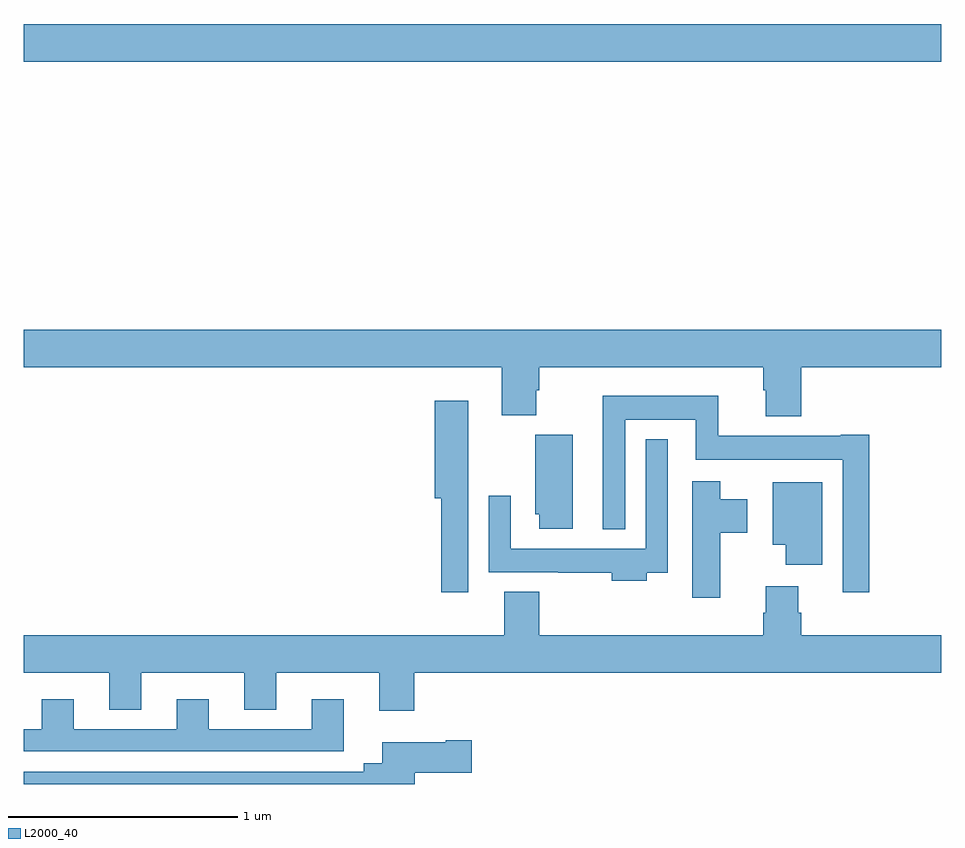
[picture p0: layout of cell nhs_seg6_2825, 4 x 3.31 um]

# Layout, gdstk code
import gdstk
lib = gdstk.Library(unit=1e-6, precision=1e-09)
def R(c, l, rs):  # rectangles x0, y0, x1, y1
    for r in rs: c.add(gdstk.rectangle(r[:2], r[2:], *l))
def P(c, l, *ps):  # polygons
    for p in ps: c.add(gdstk.Polygon(p, *l))
L2000_40 = (2000, 40)

nhs_seg6_2825 = lib.new_cell('nhs_seg6_2825')
R(nhs_seg6_2825, L2000_40, [(277,968.648,281,968.812)])
P(nhs_seg6_2825, L2000_40, [(280.388,967.316),(281,967.316),(281,967.48),(277,967.48),(277,967.316),(279.083,967.316),(279.083,967.108),(279.235,967.108),(279.235,967.217),(279.248,967.217),(279.248,967.316),(280.223,967.316),(280.223,967.215),(280.235,967.215),(280.235,967.103),(280.388,967.103)],
  [(280.685,967.021),(280.562,967.021),(280.562,967.018),(280.028,967.018),(280.028,967.192),(279.524,967.192),(279.524,966.611),(279.621,966.611),(279.621,967.088),(279.93,967.088),(279.93,966.914),(280.569,966.914),(280.569,966.336),(280.685,966.336)],
  [(278.937,966.85),(278.938,966.85),(278.938,967.171),(278.792,967.171),(278.792,966.746),(278.821,966.746),(278.821,966.336),(278.937,966.336)],
  [(279.394,967.023),(279.23,967.023),(279.23,966.675),(279.248,966.675),(279.248,966.612),(279.394,966.612)],
  [(279.715,966.42),(279.807,966.42),(279.807,967.003),(279.711,967.003),(279.711,966.526),(279.123,966.526),(279.123,966.757),(279.027,966.757),(279.027,966.422),(279.331,966.422),(279.331,966.42),(279.563,966.42),(279.563,966.386),(279.715,966.386)],
  [(280.036,966.595),(280.153,966.595),(280.153,966.742),(280.036,966.742),(280.036,966.82),(279.914,966.82),(279.914,966.312),(280.036,966.312)],
  [(280.48,966.814),(280.265,966.814),(280.265,966.542),(280.322,966.542),(280.322,966.456),(280.48,966.456)],
  [(278.702,965.984),(281,965.984),(281,966.148),(280.388,966.148),(280.388,966.246),(280.375,966.246),(280.375,966.361),(280.235,966.361),(280.235,966.246),(280.223,966.246),(280.223,966.148),(279.248,966.148),(279.248,966.337),(279.095,966.337),(279.095,966.148),(277,966.148),(277,965.984),(277.373,965.984),(277.373,965.824),(277.513,965.824),(277.513,965.984),(277.961,965.984),(277.961,965.824),(278.101,965.824),(278.101,965.984),(278.549,965.984),(278.549,965.82),(278.702,965.82)],
  [(278.395,965.869),(278.255,965.869),(278.255,965.739),(277.807,965.739),(277.807,965.869),(277.667,965.869),(277.667,965.739),(277.219,965.739),(277.219,965.869),(277.079,965.869),(277.079,965.739),(277,965.739),(277,965.643),(278.395,965.643)],
  [(278.704,965.549),(278.953,965.549),(278.953,965.691),(278.84,965.691),(278.84,965.683),(278.564,965.683),(278.564,965.59),(278.483,965.59),(278.483,965.554),(277,965.554),(277,965.5),(278.704,965.5)])

lib.write_gds('nhs_seg6_2825.gds')
